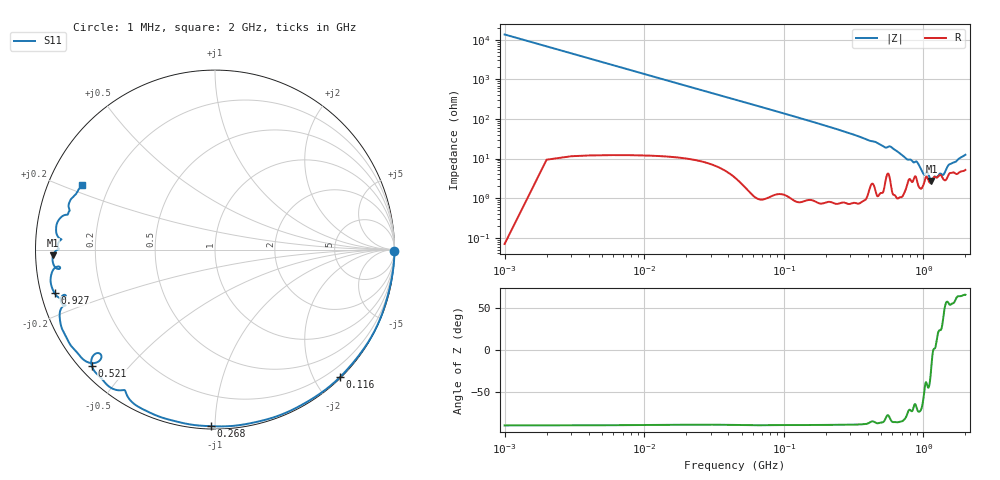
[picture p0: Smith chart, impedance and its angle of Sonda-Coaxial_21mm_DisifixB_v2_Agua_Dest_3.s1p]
! TOUCHSTONE file generated by CST MICROWAVE STUDIO
! Date and time: Sun Aug  2 21:09:30 2026
! Project name: Sonda-Coaxial_21mm_DisifixB_v2_Agua_Dest.cst
! Parameters = {h_recipiente=20; l_conector=5; r_arandela=35; r_ext=10.5; r_int=3; r_recipiente=50; z_recipiente=-50}
! Header version: 2018
! Port assignment regex: !\s*Touchstone port\s*([0-9]+)\s*=\s*(CST MWS port|CST DS port)\s*([0-9]+|Zmin|Zmax)\s*\(\"(.*)\"\)(\s*mode\s*([0-9]+))?.*
! Touchstone port assignment:
! Touchstone port 1 = CST MWS port 1 ("")
# GHz S RI R 50
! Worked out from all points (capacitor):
!   2000 points, 1 MHz to 2 GHz, reference 50 ohm
!   read as one part to ground: C = 11.6 pF near 11 MHz
!   lowest |Z| = 2.71 ohm at 1.142 GHz (marker M1)
!   series resonance near 1.18 GHz, so ESL is about 1.6 nH
!   S11 on the Smith chart (normalised r, x): 1 MHz: open; 116 MHz: 0.02, -2.37; 268 MHz: 0.02, -0.98; 521 MHz: 0.03, -0.40; 927 MHz: 0.04, -0.13; 2 GHz: 0.10, +0.23
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0.001  1 -0.00734
0.056  0.9199 -0.3861
0.116  0.6948 -0.7116
0.181  0.3793 -0.9155
0.251  0.0488 -0.9848
0.268  -0.0227 -0.984
0.335  -0.2729 -0.9427
0.392  -0.4485 -0.8613
0.443  -0.5163 -0.7835
0.501  -0.6485 -0.702
0.521  -0.6857 -0.6507
0.545  -0.6642 -0.579
0.567  -0.6338 -0.6039
0.592  -0.7014 -0.6298
0.651  -0.8036 -0.5339
0.751  -0.8652 -0.3549
0.878  -0.8304 -0.2603
0.927  -0.8936 -0.2434
1.001  -0.9085 -0.127
1.053  -0.8624 -0.1013
1.086  -0.8874 -0.1014
1.142  -0.9021 -0.0318
1.251  -0.8756 0.0292
1.368  -0.8724 0.0686
1.434  -0.8837 0.1331
1.501  -0.8458 0.1892
1.751  -0.8076 0.2722
2  -0.7389 0.3583
